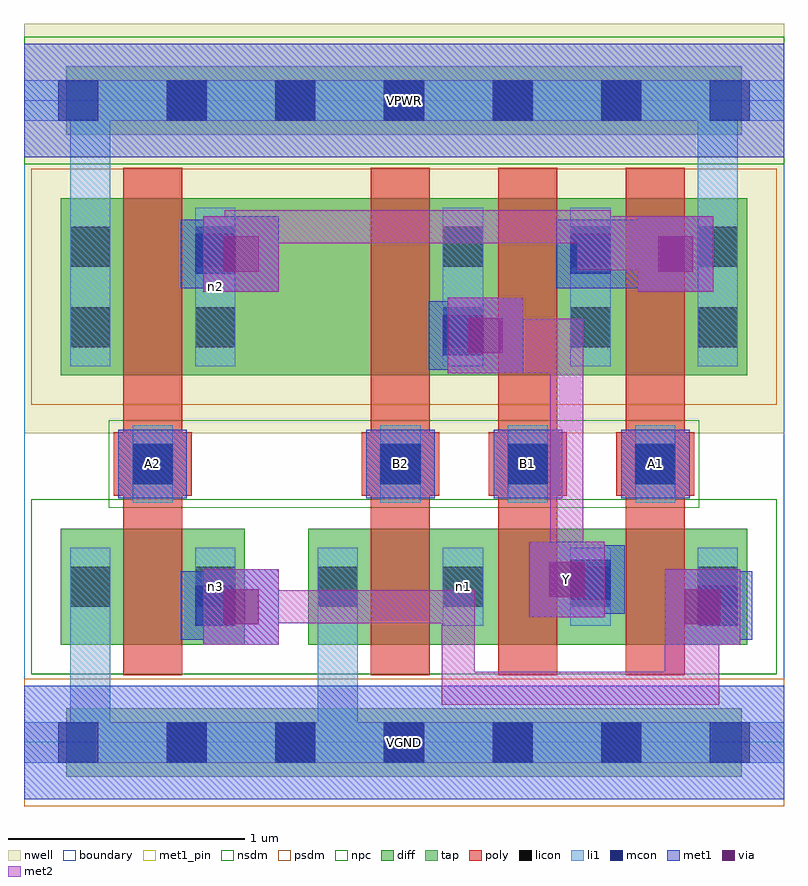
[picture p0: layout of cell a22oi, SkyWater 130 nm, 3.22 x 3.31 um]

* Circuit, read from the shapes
.subckt a22oi A1 A2 B1 B2 VGND VPWR Y n1 n2 n3
XM1 n3 A2 VGND VGND sky130_fd_pr__nfet_01v8 w=0.49 l=0.25
XM2 n1 B2 VGND VGND sky130_fd_pr__nfet_01v8 w=0.49 l=0.25
XM3 Y B1 n1 VGND sky130_fd_pr__nfet_01v8 w=0.49 l=0.25
XM4 n3 A1 Y VGND sky130_fd_pr__nfet_01v8 w=0.49 l=0.25
XM5 n2 A2 VPWR VPWR sky130_fd_pr__pfet_01v8 w=0.75 l=0.25
XM6 Y B2 n2 VPWR sky130_fd_pr__pfet_01v8 w=0.75 l=0.25
XM7 n2 B1 Y VPWR sky130_fd_pr__pfet_01v8 w=0.75 l=0.25
XM8 VPWR A1 n2 VPWR sky130_fd_pr__pfet_01v8 w=0.75 l=0.25
.ends

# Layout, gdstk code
import gdstk
lib = gdstk.Library(unit=1e-6, precision=1e-09)
def R(c, l, rs):  # rectangles x0, y0, x1, y1
    for r in rs: c.add(gdstk.rectangle(r[:2], r[2:], *l))
def A(c, l, x, y, w, h, nx, ny, dx, dy):  # array of equal rectangles
    R(c, l, [(x+i*dx, y+j*dy, x+i*dx+w, y+j*dy+h) for i in range(nx) for j in range(ny)])
nwell = (64, 20)
diff = (65, 20)
tap = (65, 44)
poly = (66, 20)
licon = (66, 44)
li1 = (67, 20)
mcon = (67, 44)
met1_pin = (68, 16)
met1 = (68, 20)
via = (68, 44)
met2 = (69, 20)
nsdm = (93, 44)
psdm = (94, 20)
npc = (95, 20)
boundary = (235, 4)

a22oi = lib.new_cell('a22oi')
R(a22oi, nwell, [(0,1.31,3.22,3.045)])
R(a22oi, diff, [(0.155,0.415,0.935,0.905), (1.205,0.415,3.065,0.905), (0.155,1.555,3.065,2.305)])
R(a22oi, tap, [(0.18,-0.145,3.04,0.145), (0.18,2.575,3.04,2.865)])
A(a22oi, poly, 1.47, 0.285, 0.25, 2.15, 3, 1, 0.54, 0)
A(a22oi, poly, 1.43, 1.045, 0.33, 0.27, 3, 1, 0.54, 0)
R(a22oi, poly, [(0.42,0.285,0.67,2.435), (0.38,1.045,0.71,1.315)])
A(a22oi, licon, 0.605, -0.085, 0.17, 0.17, 5, 2, 0.46, 2.72)
A(a22oi, licon, 1.775, 0.575, 0.17, 0.17, 3, 2, 0.54, 1.1)
A(a22oi, licon, 1.51, 1.095, 0.17, 0.17, 3, 1, 0.54, 0)
A(a22oi, licon, 1.775, 2.015, 0.17, 0.17, 3, 1, 0.54, 0)
R(a22oi, licon, [(0.195,0.575,0.365,0.745), (0.725,0.575,0.895,0.745), (1.245,0.575,1.415,0.745), (0.46,1.095,0.63,1.265), (0.195,1.675,0.365,1.845), (0.725,1.675,0.895,1.845), (0.195,2.015,0.365,2.185), (0.725,2.015,0.895,2.185)])
A(a22oi, li1, 1.775, 0.495, 0.17, 0.33, 3, 1, 0.54, 0)
A(a22oi, li1, 1.51, 1.015, 0.17, 0.33, 3, 1, 0.54, 0)
A(a22oi, li1, 1.775, 1.595, 0.17, 0.67, 3, 1, 0.54, 0)
R(a22oi, li1, [(0,-0.085,3.22,0.085), (0.195,-0.085,0.365,0.825), (1.245,-0.085,1.415,0.825), (0.195,0.495,0.365,0.825), (0.725,0.495,0.895,0.825), (1.245,0.495,1.415,0.825), (0.46,1.015,0.63,1.345), (0.195,1.595,0.365,2.265), (0.195,1.595,0.365,2.805), (0.725,1.595,0.895,2.265), (2.855,1.595,3.025,2.805), (0,2.635,3.22,2.805)])
A(a22oi, mcon, 0.145, -0.085, 0.17, 0.17, 7, 2, 0.46, 2.72)
A(a22oi, mcon, 1.51, 1.095, 0.17, 0.17, 3, 1, 0.54, 0)
R(a22oi, mcon, [(0.725,0.495,0.895,0.665), (2.855,0.495,3.025,0.665), (2.315,0.605,2.485,0.775), (0.46,1.095,0.63,1.265), (1.775,1.64,1.945,1.81), (0.725,1.985,0.895,2.155), (2.315,1.985,2.485,2.155)])
A(a22oi, met1_pin, 1.45, 1.035, 0.29, 0.29, 3, 1, 0.54, 0)
R(a22oi, met1_pin, [(0,-0.24,3.22,0.24), (2.14,0.53,2.46,0.85), (0.4,1.035,0.69,1.325), (0,2.48,3.22,2.96)])
A(a22oi, met1, 1.45, 1.035, 0.29, 0.29, 3, 1, 0.54, 0)
R(a22oi, met1, [(0,-0.24,3.22,0.24), (0.76,0.415,1.08,0.735), (2.715,0.415,3.035,0.735), (0.665,0.435,0.955,0.725), (2.795,0.435,3.085,0.725), (0.85,0.505,0.99,0.65), (2.805,0.505,2.945,0.65), (0.74,0.51,0.99,0.65), (2.805,0.51,3.01,0.65), (2.14,0.53,2.46,0.85), (2.255,0.545,2.545,0.835), (2.23,0.62,2.47,0.76), (0.4,1.035,0.69,1.325), (1.795,1.565,2.115,1.885), (1.715,1.58,2.005,1.87), (1.79,1.655,2.025,1.795), (0.76,1.91,1.08,2.23), (2.6,1.91,2.92,2.23), (0.665,1.925,0.955,2.215), (2.255,1.925,2.545,2.215), (2.545,1.925,2.6,2.215), (0.74,2,0.99,2.14), (2.33,2,2.6,2.14), (2.46,2,2.83,2.14), (0,2.48,3.22,2.96)])
R(a22oi, via, [(0.845,0.5,0.995,0.65), (2.8,0.5,2.95,0.65), (2.225,0.615,2.375,0.765), (1.88,1.65,2.03,1.8), (0.845,1.995,0.995,2.145), (2.685,1.995,2.835,2.145)])
R(a22oi, met2, [(1.77,0.16,1.91,0.645), (1.77,0.16,2.945,0.3), (2.805,0.16,2.945,0.645), (2.715,0.3,2.945,0.415), (0.76,0.415,1.08,0.735), (2.715,0.415,3.035,0.735), (0.85,0.505,1.91,0.645), (2.14,0.53,2.46,0.85), (2.23,0.62,2.37,1.795), (1.795,1.565,2.115,1.885), (2.115,1.565,2.23,1.795), (1.885,1.655,2.37,1.795), (0.76,1.91,1.08,2.23), (2.6,1.91,2.92,2.23), (0.85,2,0.99,2.255), (2.345,2,2.83,2.14), (2.345,2,2.485,2.255), (2.485,2,2.6,2.23), (0.85,2.115,2.485,2.255), (2.485,2.115,2.6,2.23)])
R(a22oi, nsdm, [(0.03,0.29,3.19,1.03), (0,2.45,3.22,2.99)])
R(a22oi, psdm, [(0,-0.27,3.22,0.27), (0.03,1.43,3.19,2.43)])
R(a22oi, npc, [(0.36,0.995,2.86,1.365)])
R(a22oi, boundary, [(0,0,3.22,2.72)])
a22oi.add(gdstk.Label('n2', (0.81,1.93), layer=67, texttype=5))
a22oi.add(gdstk.Label('n3', (0.81,0.66), layer=67, texttype=5))
a22oi.add(gdstk.Label('n1', (1.86,0.66), layer=67, texttype=5))
a22oi.add(gdstk.Label('A1', (2.675,1.18), layer=68, texttype=5))
a22oi.add(gdstk.Label('A2', (0.545,1.18), layer=68, texttype=5))
a22oi.add(gdstk.Label('B1', (2.135,1.18), layer=68, texttype=5))
a22oi.add(gdstk.Label('B2', (1.595,1.18), layer=68, texttype=5))
a22oi.add(gdstk.Label('Y', (2.3,0.69), layer=68, texttype=5))
a22oi.add(gdstk.Label('VPWR', (1.61,2.72), layer=68, texttype=5))
a22oi.add(gdstk.Label('VGND', (1.61,0), layer=68, texttype=5))
a22oi.add(gdstk.Label('A1', (2.675,1.18), layer=68, texttype=16))
a22oi.add(gdstk.Label('A2', (0.545,1.18), layer=68, texttype=16))
a22oi.add(gdstk.Label('B1', (2.135,1.18), layer=68, texttype=16))
a22oi.add(gdstk.Label('B2', (1.595,1.18), layer=68, texttype=16))
a22oi.add(gdstk.Label('Y', (2.3,0.69), layer=68, texttype=16))
a22oi.add(gdstk.Label('VPWR', (1.61,2.72), layer=68, texttype=16))
a22oi.add(gdstk.Label('VGND', (1.61,0), layer=68, texttype=16))

lib.write_gds('a22oi.gds')
